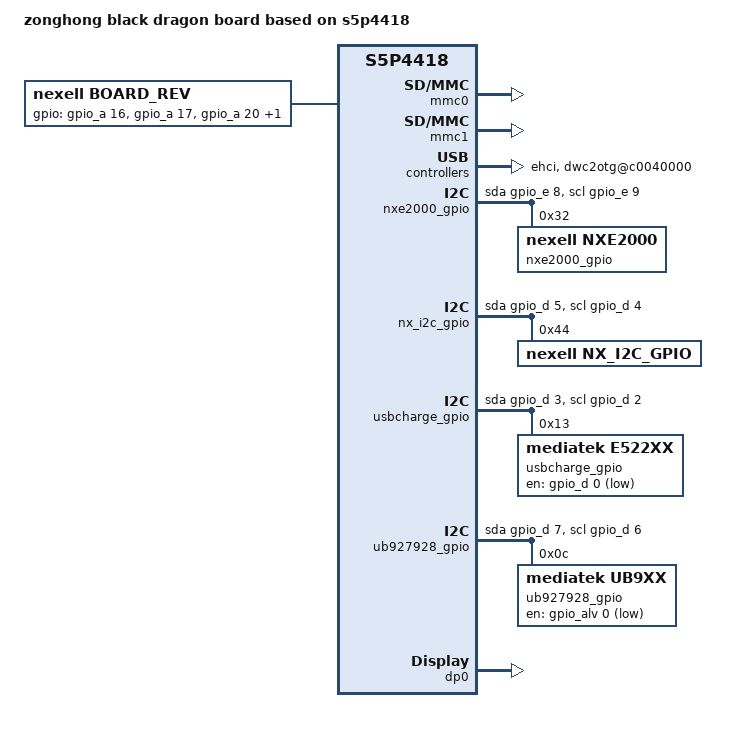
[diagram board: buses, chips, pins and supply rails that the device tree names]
/*
 * (C) Copyright 2017 Nexell
 * Jongshin Park <pjsin865@nexell.co.kr>
 *
 * SPDX-License-Identifier:      GPL-2.0+
 */

/dts-v1/;
#include "s5p4418.dtsi"
#include "s5p4418-zh-blackdragon-nxe2000.dtsi"

/ {
	model = "zonghong black dragon board based on s5p4418";
	cpu-model = "S5p4418";

	compatible = "nexell,s5p4418";

	pinctrl@C0010000 {
		/delete-node/ gmac_txd;
		/delete-node/ gmac_rxd;
		/delete-node/ gmac_txen;
		/delete-node/ gmac_mdc;
		/delete-node/ gmac_mdio;
		/delete-node/ gmac_rxclk;
		/delete-node/ gmac_txclk;
	};

	mmc0:mmc@c0062000 {
		nexell,drive_dly = <0x0>;
		nexell,drive_shift = <0x03>;
		nexell,sample_dly = <0x00>;
		nexell,sample_shift = <0x02>;
		frequency = <50000000>;
		status = "okay";
	};

	mmc1:mmc@c0068000 {
		nexell,drive_dly = <0x0>;
		nexell,drive_shift = <0x03>;
		nexell,sample_dly = <0x00>;
		nexell,sample_shift = <0x02>;
		frequency = <50000000>;
		status ="okay";
	};

	ehci:usbhost@c0030000 {
		status = "okay";
	};

	dwc2otg@c0040000 {
		status = "okay";
	};

	nxe2000_gpio:i2c_gpio@0 {
		compatible = "i2c-gpio";
		#address-cells = <1>;
		#size-cells = <0>;
		gpios = <&gpio_e 8 1>,	/* SDA */
		      <&gpio_e 9 1>;	/* SCL */

		i2c-gpio,delay-us = <3>;
		nxe2000_gpio@32 {
			compatible = "nexell,nxe2000";
			reg = <0x32>;
		};
	};

	nx_i2c_gpio:i2c_gpio@3 {
		#address-cells = <1>;
		#size-cells = <0>;
		compatible = "i2c-gpio";
		gpios = <&gpio_d 5 0>,
			<&gpio_d 4 0>;
		i2c-gpio,delay-us = <1>;
		nx_i2c_gpio@44 {
			compatible = "nexell,nx_i2c_gpio";
			reg = <0x44>;
			sda_pad = <1>;
			scl_pad = <1>;
		};
	};

	usbcharge_gpio:i2c_gpio@1 {
		compatible = "i2c-gpio";
		#address-cells = <1>;
		#size-cells = <0>;
		gpios = <&gpio_d 3 1>,	/* SDA */
		      <&gpio_d 2 1>;	/* SCL */

		i2c-gpio,delay-us = <3>;
		usbcharge_gpio@13 {
			compatible = "mediatek,e522xx";
			gpios-en = <&gpio_d 0 1>;
			reg = <0x13>;
		};
	};

	ub927928_gpio:i2c_gpio@2 {
		compatible = "i2c-gpio";
		#address-cells = <1>;
		#size-cells = <0>;
		gpios = <&gpio_d 7 1>,	/* SDA */
		      <&gpio_d 6 1>;	/* SCL */

		i2c-gpio,delay-us = <12>;
		ub927928_gpio@0c{
			compatible = "mediatek,ub9xx";
			gpios-en = <&gpio_alv 0 1>;
			reg = <0x0c>;
		};
	};

	dp0:dp@c0102800 {
	        status = "okay";
	        module = <0>;
	        lcd-type = "lvds";

		dp-device {
			format = <0>;
			voltage_level = <0x3f>;
		};

		dp-sync {
			h_active_len = <1024>;
			h_front_porch = <160>;
			h_back_porch = <160>;
			h_sync_width = <2>;
			v_active_len = <600>;
			v_front_porch = <15>;
			v_back_porch = <23>;
			v_sync_width = <14>;
		};

		dp-ctrl {
			clk_src_lv0 = <3>;
			clk_div_lv0 = <16>;
			clk_src_lv1 = <7>;
			clk_div_lv1 = <1>;
			out_format = <3>;
		};

		dp-planes {
			layer_top {
				screen_width = <1024>;
				screen_height = <600>;
				back_color = <0x0>;
			};

			layer_1 {
				fb_base = <0x7E000000>;
				width = <1024>;
				height = <600>;
				format = <0x06530000>;
				pixel_byte = <4>;
			};
		};
	};

	board_rev:rev@0 {
		#address-cells = <1>;
		#size-cells = <0>;
		gpios = < &gpio_a 16 0 >,
		      < &gpio_a 17 0 >,
		      < &gpio_a 20 0 >,
		      < &gpio_a 21 0 >;
		compatible = "nexell,board_rev";
	};
};
